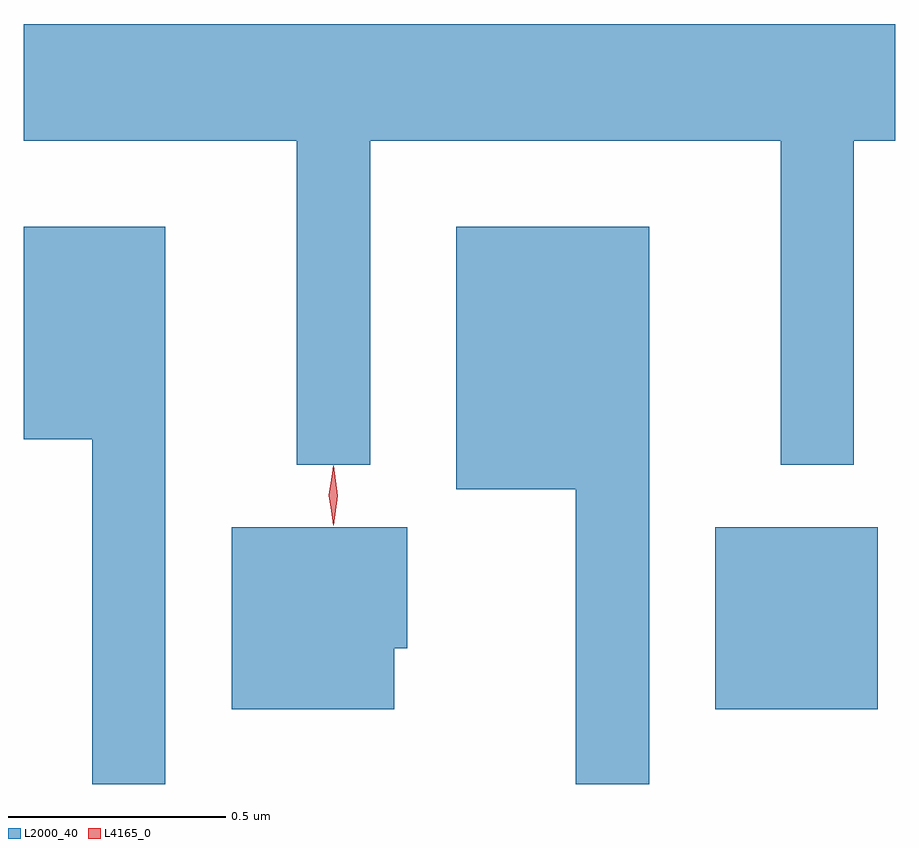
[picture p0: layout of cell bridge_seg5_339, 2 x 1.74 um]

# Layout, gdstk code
import gdstk
lib = gdstk.Library(unit=1e-6, precision=1e-09)
def R(c, l, rs):  # rectangles x0, y0, x1, y1
    for r in rs: c.add(gdstk.rectangle(r[:2], r[2:], *l))
def P(c, l, *ps):  # polygons
    for p in ps: c.add(gdstk.Polygon(p, *l))
L2000_40 = (2000, 40)
L4165_0 = (4165, 0)

bridge_seg5_339 = lib.new_cell('bridge_seg5_339')
R(bridge_seg5_339, L2000_40, [(668.001,1504.331,668.374,1504.749)])
P(bridge_seg5_339, L2000_40, [(667.209,1505.636),(668.151,1505.636),(668.151,1504.893),(668.319,1504.893),(668.319,1505.636),(668.414,1505.636),(668.414,1505.904),(666.414,1505.904),(666.414,1505.636),(667.041,1505.636),(667.041,1504.893),(667.209,1504.893)],
  [(667.849,1505.439),(667.406,1505.439),(667.406,1504.836),(667.681,1504.836),(667.681,1504.16),(667.849,1504.16)],
  [(666.739,1505.439),(666.414,1505.439),(666.414,1504.951),(666.571,1504.951),(666.571,1504.16),(666.739,1504.16)],
  [(667.264,1504.471),(667.294,1504.471),(667.294,1504.749),(666.891,1504.749),(666.891,1504.331),(667.264,1504.331)])
P(bridge_seg5_339, L4165_0, [(667.124,1504.754),(667.115,1504.822),(667.124,1504.89),(667.125,1504.89),(667.125,1504.89),(667.135,1504.822),(667.125,1504.754),(667.125,1504.754)],
  [(667.124,1504.759),(667.124,1504.759),(667.114,1504.823),(667.124,1504.887),(667.124,1504.887),(667.125,1504.887),(667.134,1504.823),(667.125,1504.759)])

lib.write_gds('bridge_seg5_339.gds')
